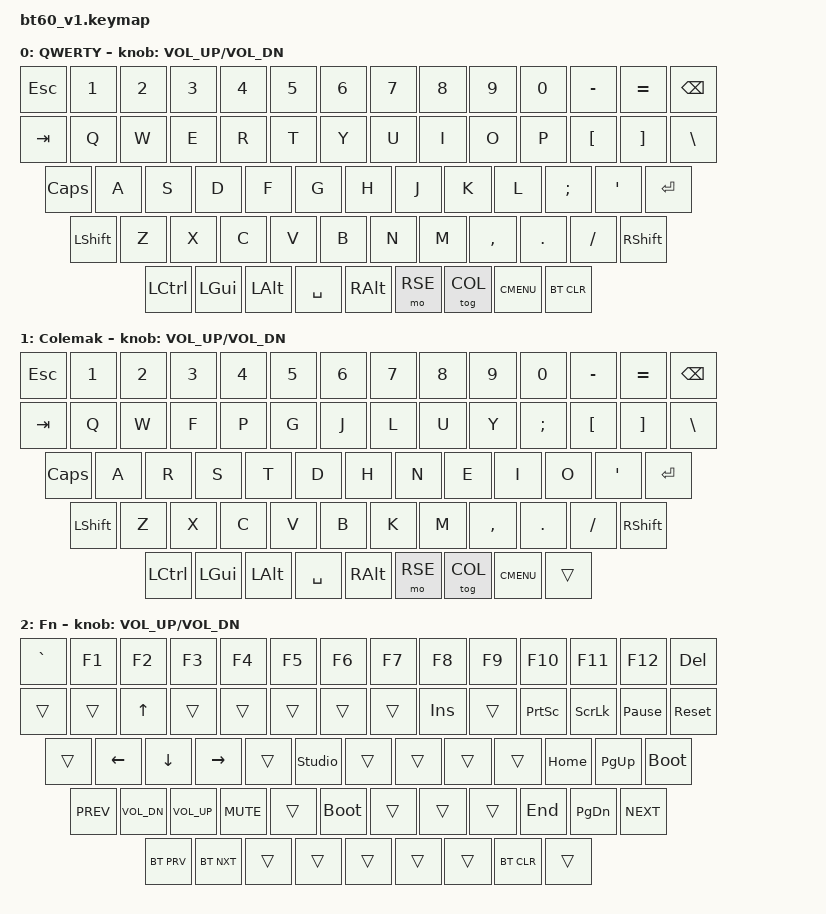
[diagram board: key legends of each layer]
/*
 * BT60 V1 (soldered, ANSI) – keymap dla ZMK v0.3
 *
 * Warstwy:
 *   0 default_layer – QWERTY
 *   1 colemak       – Colemak (włączany/wyłączany klawiszem &tog 1)
 *   2 raise         – F-klawisze, strzałki, media, Bluetooth (trzymany &mo 2)
 *                     Fn+G = &studio_unlock (odblokowanie ZMK Studio)
 *   3-4 extra       – puste warstwy zarezerwowane dla ZMK Studio
 *
 * Raise jest celowo NAD Colemakiem: w ZMK wygrywa warstwa o najwyższym
 * numerze, więc gdyby Colemak był wyżej, przy włączonym Colemaku
 * Fn (&mo) nie dawałby F-klawiszy ani strzałek.
 */

#include <behaviors.dtsi>
#include <dt-bindings/zmk/keys.h>
#include <dt-bindings/zmk/bt.h>

#define DEF 0
#define COL 1
#define RSE 2

/ {
    chosen {
        zmk,physical-layout = &layout_60_ansi;
    };

    keymap {
        compatible = "zmk,keymap";

        default_layer {
            display-name = "QWERTY";
            bindings = <
   &kp ESC     &kp N1    &kp N2    &kp N3     &kp N4    &kp N5            &kp N6       &kp N7     &kp N8      &kp N9    &kp N0  &kp MINUS  &kp EQUAL  &kp BSPC
   &kp TAB      &kp Q     &kp W     &kp E      &kp R     &kp T             &kp Y        &kp U      &kp I       &kp O     &kp P   &kp LBKT   &kp RBKT  &kp BSLH
  &kp CLCK      &kp A     &kp S     &kp D      &kp F     &kp G             &kp H        &kp J      &kp K       &kp L  &kp SEMI    &kp SQT    &kp RET
 &kp LSHFT      &kp Z     &kp X     &kp C      &kp V     &kp B             &kp N        &kp M  &kp COMMA     &kp DOT  &kp FSLH  &kp RSHFT
            &kp LCTRL  &kp LGUI  &kp LALT  &kp SPACE  &kp RALT        &mo RSE  &tog COL  &kp K_CMENU  &bt BT_CLR
            >;
            sensor-bindings = <&inc_dec_kp C_VOL_UP C_VOL_DN>;
        };

        colemak {
            display-name = "Colemak";
            bindings = <
   &kp ESC     &kp N1    &kp N2    &kp N3     &kp N4    &kp N5            &kp N6       &kp N7     &kp N8      &kp N9    &kp N0  &kp MINUS  &kp EQUAL  &kp BSPC
   &kp TAB      &kp Q     &kp W     &kp F      &kp P     &kp G             &kp J        &kp L      &kp U       &kp Y  &kp SEMI   &kp LBKT   &kp RBKT  &kp BSLH
  &kp CLCK      &kp A     &kp R     &kp S      &kp T     &kp D             &kp H        &kp N      &kp E       &kp I     &kp O    &kp SQT    &kp RET
 &kp LSHFT      &kp Z     &kp X     &kp C      &kp V     &kp B             &kp K        &kp M  &kp COMMA     &kp DOT  &kp FSLH  &kp RSHFT
            &kp LCTRL  &kp LGUI  &kp LALT  &kp SPACE  &kp RALT        &mo RSE  &tog COL  &kp K_CMENU  &trans
            >;
            sensor-bindings = <&inc_dec_kp C_VOL_UP C_VOL_DN>;
        };

        raise {
            display-name = "Fn";
            bindings = <
  &kp GRAVE        &kp F1        &kp F2      &kp F3  &kp F4       &kp F5            &kp F6  &kp F7      &kp F8   &kp F9    &kp F10     &kp F11          &kp F12      &kp DEL
     &trans        &trans        &kp UP      &trans  &trans       &trans            &trans  &trans     &kp INS   &trans  &kp PSCRN    &kp SLCK  &kp PAUSE_BREAK   &sys_reset
     &trans      &kp LEFT      &kp DOWN   &kp RIGHT  &trans &studio_unlock            &trans  &trans      &trans   &trans   &kp HOME   &kp PG_UP      &bootloader
 &kp C_PREV  &kp C_VOL_DN  &kp C_VOL_UP  &kp C_MUTE  &trans  &bootloader            &trans  &trans      &trans  &kp END  &kp PG_DN  &kp C_NEXT
               &bt BT_PRV    &bt BT_NXT      &trans  &trans       &trans            &trans  &trans  &bt BT_CLR   &trans
            >;
            sensor-bindings = <&inc_dec_kp C_VOL_UP C_VOL_DN>;
        };

        // Zapasowe warstwy do wykorzystania w ZMK Studio
        extra1 {
            display-name = "Extra 1";
            status = "reserved";
        };

        extra2 {
            display-name = "Extra 2";
            status = "reserved";
        };
    };
};
